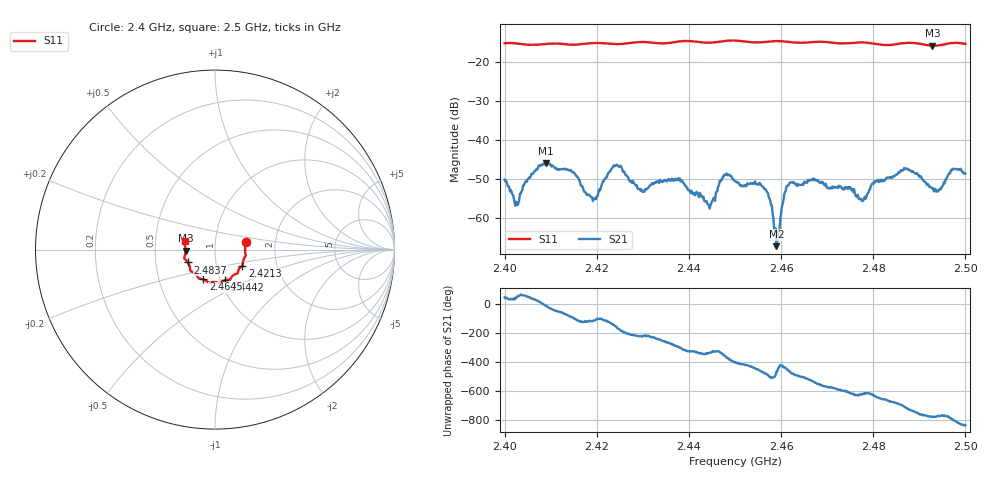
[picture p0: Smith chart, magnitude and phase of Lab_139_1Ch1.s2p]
# Hz S RI R 50
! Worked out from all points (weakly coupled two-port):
!   601 points, 2.4 GHz to 2.5 GHz, reference 50 ohm
!   highest |S21| = -45.97 dB at 2.409 GHz (marker M1); lowest = -67.4 dB at 2.459 GHz (marker M2)
!   lowest |S11| = -15.7 dB at 2.4928 GHz (marker M3), VSWR 1.39, Z = 36 - j0.388 ohm
!   |S11| at or under -10 dB: start of sweep to end of sweep
!   S12 and S22 are empty: the file has one direction only
!   S11 on the Smith chart (normalised r, x): 2.4 GHz: 1.41, +0.12; 2.4213 GHz: 1.33, -0.25; 2.4442 GHz: 1.05, -0.37; 2.4645 GHz: 0.83, -0.29; 2.4837 GHz: 0.73, -0.11; 2.5 GHz: 0.71, +0.07
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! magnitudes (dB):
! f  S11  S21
! 2.4 GHz  -15.1  -50.2
! 2.4027 GHz  -15.2  -56.3
! 2.409 GHz  -15.3  -46.0
! 2.4167 GHz  -15.3  -51.8
! 2.4195 GHz  -15.0  -55.2
! 2.4213 GHz  -15.1  -50.7
! 2.4242 GHz  -15.3  -46.5
! 2.4298 GHz  -14.8  -53.2
! 2.4333 GHz  -15.1  -50.8
! 2.4442 GHz  -15.0  -56.6
! 2.4477 GHz  -14.5  -49.0
! 2.45 GHz  -14.4  -50.6
! 2.4567 GHz  -14.7  -52.8
! 2.459 GHz  -14.5  -67.4
! 2.4613 GHz  -14.7  -51.8
! 2.4645 GHz  -15.0  -51.5
! 2.4667 GHz  -14.8  -50.1
! 2.4773 GHz  -14.9  -55.1
! 2.4833 GHz  -15.6  -49.7
! 2.4837 GHz  -15.5  -49.5
! 2.4928 GHz  -15.7  -52.5
! 2.5 GHz  -15.3  -48.7
